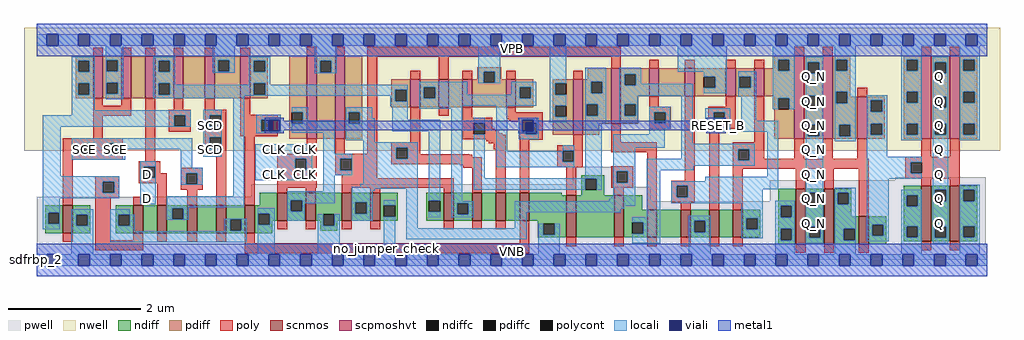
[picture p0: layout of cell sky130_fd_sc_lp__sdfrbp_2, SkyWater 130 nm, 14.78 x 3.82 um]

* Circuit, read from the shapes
.subckt sky130_fd_sc_lp__sdfrbp_2 CLK D RESET_B SCD SCE VGND VNB VPB VPWR Q Q_N
XM1 VGND SCE n1 VNB sky130_fd_pr__nfet_01v8 w=0.42 l=0.15
XM2 n2 n1 n3 VNB sky130_fd_pr__nfet_01v8 w=0.42 l=0.15
XM3 n4 D n2 VNB sky130_fd_pr__nfet_01v8 w=0.42 l=0.15
XM4 n5 SCE n4 VNB sky130_fd_pr__nfet_01v8 w=0.42 l=0.15
XM5 n3 SCD n5 VNB sky130_fd_pr__nfet_01v8 w=0.42 l=0.15
XM6 VGND RESET_B n3 VNB sky130_fd_pr__nfet_01v8 w=0.42 l=0.15
XM7 n6 CLK VGND VNB sky130_fd_pr__nfet_01v8 w=0.42 l=0.15 m=2
XM8 n7 n6 VGND VNB sky130_fd_pr__nfet_01v8 w=0.42 l=0.15 m=2
XM9 n8 n6 n4 VNB sky130_fd_pr__nfet_01v8 w=0.42 l=0.15
XM10 n9 n7 n8 VNB sky130_fd_pr__nfet_01v8 w=0.42 l=0.15
XM11 n10 n11 n9 VNB sky130_fd_pr__nfet_01v8 w=0.42 l=0.15
XM12 VGND RESET_B n10 VNB sky130_fd_pr__nfet_01v8 w=0.42 l=0.15
XM13 n11 n8 VGND VNB sky130_fd_pr__nfet_01v8 w=0.64 l=0.15
XM14 n12 n7 n11 VNB sky130_fd_pr__nfet_01v8 w=0.64 l=0.15
XM15 n13 n6 n12 VNB sky130_fd_pr__nfet_01v8 w=0.42 l=0.15
XM16 VGND n14 n13 VNB sky130_fd_pr__nfet_01v8 w=0.42 l=0.15
XM17 n15 RESET_B VGND VNB sky130_fd_pr__nfet_01v8 w=0.42 l=0.15
XM18 n14 n12 n15 VNB sky130_fd_pr__nfet_01v8 w=0.42 l=0.15
XM19 Q_N n12 VGND VNB sky130_fd_pr__nfet_01v8 w=0.84 l=0.15 m=2
XM20 n16 n12 VGND VNB sky130_fd_pr__nfet_01v8 w=0.42 l=0.15
XM21 Q n16 VGND VNB sky130_fd_pr__nfet_01v8 w=0.84 l=0.15 m=2
XM22 VPWR SCE n1 VPB sky130_fd_pr__pfet_01v8_hvt w=0.64 l=0.15
XM23 n17 SCE VPWR VPB sky130_fd_pr__pfet_01v8_hvt w=0.64 l=0.15
XM24 n4 D n17 VPB sky130_fd_pr__pfet_01v8_hvt w=0.64 l=0.15
XM25 n18 n1 n4 VPB sky130_fd_pr__pfet_01v8_hvt w=0.64 l=0.15
XM26 VPWR SCD n18 VPB sky130_fd_pr__pfet_01v8_hvt w=0.64 l=0.15
XM27 n4 RESET_B VPWR VPB sky130_fd_pr__pfet_01v8_hvt w=0.64 l=0.15
XM28 VPWR CLK n6 VPB sky130_fd_pr__pfet_01v8_hvt w=1.26 l=0.15
XM29 n7 n6 VPWR VPB sky130_fd_pr__pfet_01v8_hvt w=1.26 l=0.15
XM30 n8 n7 n4 VPB sky130_fd_pr__pfet_01v8_hvt w=0.42 l=0.15
XM31 n19 n6 n8 VPB sky130_fd_pr__pfet_01v8_hvt w=0.42 l=0.15
XM32 VPWR n11 n19 VPB sky130_fd_pr__pfet_01v8_hvt w=0.42 l=0.15
XM33 n8 RESET_B VPWR VPB sky130_fd_pr__pfet_01v8_hvt w=0.42 l=0.15
XM34 n11 n8 VPWR VPB sky130_fd_pr__pfet_01v8_hvt w=0.84 l=0.15
XM35 n12 n6 n11 VPB sky130_fd_pr__pfet_01v8_hvt w=0.84 l=0.15
XM36 n20 n7 n12 VPB sky130_fd_pr__pfet_01v8_hvt w=0.42 l=0.15
XM37 VPWR n14 n20 VPB sky130_fd_pr__pfet_01v8_hvt w=0.42 l=0.15
XM38 n14 RESET_B VPWR VPB sky130_fd_pr__pfet_01v8_hvt w=0.42 l=0.15
XM39 VPWR n12 n14 VPB sky130_fd_pr__pfet_01v8_hvt w=0.42 l=0.15
XM40 Q_N n12 VPWR VPB sky130_fd_pr__pfet_01v8_hvt w=1.26 l=0.15 m=2
XM41 n16 n12 VPWR VPB sky130_fd_pr__pfet_01v8_hvt w=0.64 l=0.15
XM42 Q n16 VPWR VPB sky130_fd_pr__pfet_01v8_hvt w=1.26 l=0.15 m=2
.ends

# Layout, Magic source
magic
tech sky130A
magscale 1 2
<< nwell >>
rect -38 331 2918 704
<< pwell >>
rect 1624 229 1745 282
rect 2601 242 2875 250
rect 650 222 1745 229
rect 650 191 1860 222
rect 1 178 1860 191
rect 2220 178 2875 242
rect 1 49 2875 178
rect 0 0 2880 49
<< scnmos >>
rect 80 81 110 165
rect 293 81 323 165
rect 365 81 395 165
rect 456 81 486 165
rect 545 81 575 165
rect 631 81 661 165
rect 729 119 759 203
rect 815 119 845 203
rect 925 119 955 203
rect 1011 119 1041 203
rect 1233 119 1263 203
rect 1319 119 1349 203
rect 1391 119 1421 203
rect 1463 119 1493 203
rect 1605 68 1635 196
rect 1749 68 1779 196
rect 1849 68 1879 152
rect 1951 68 1981 152
rect 2037 68 2067 152
rect 2109 68 2139 152
rect 2299 48 2329 216
rect 2385 48 2415 216
rect 2490 48 2520 132
rect 2680 56 2710 224
rect 2766 56 2796 224
<< scpmoshvt >>
rect 171 489 201 617
rect 257 489 287 617
rect 329 489 359 617
rect 415 489 445 617
rect 509 489 539 617
rect 617 489 647 617
rect 818 367 848 619
rect 904 367 934 619
rect 1132 463 1162 547
rect 1218 463 1248 547
rect 1290 463 1320 547
rect 1422 463 1452 547
rect 1625 379 1655 547
rect 1740 412 1770 580
rect 1855 496 1885 580
rect 1963 496 1993 580
rect 2088 496 2118 580
rect 2174 496 2204 580
rect 2295 367 2325 619
rect 2381 367 2411 619
rect 2486 367 2516 495
rect 2680 367 2710 619
rect 2766 367 2796 619
<< ndiff >>
rect 27 143 80 165
rect 27 109 35 143
rect 69 109 80 143
rect 27 81 80 109
rect 110 137 163 165
rect 110 103 121 137
rect 155 103 163 137
rect 110 81 163 103
rect 676 165 729 203
rect 240 137 293 165
rect 240 103 248 137
rect 282 103 293 137
rect 240 81 293 103
rect 323 81 365 165
rect 395 157 456 165
rect 395 123 411 157
rect 445 123 456 157
rect 395 81 456 123
rect 486 81 545 165
rect 575 123 631 165
rect 575 89 586 123
rect 620 89 631 123
rect 575 81 631 89
rect 661 140 729 165
rect 661 106 672 140
rect 706 119 729 140
rect 759 181 815 203
rect 759 147 770 181
rect 804 147 815 181
rect 759 119 815 147
rect 845 138 925 203
rect 845 119 868 138
rect 706 106 714 119
rect 661 81 714 106
rect 860 104 868 119
rect 902 119 925 138
rect 955 174 1011 203
rect 955 140 966 174
rect 1000 140 1011 174
rect 955 119 1011 140
rect 1041 165 1094 203
rect 1041 131 1052 165
rect 1086 131 1094 165
rect 1041 119 1094 131
rect 1180 180 1233 203
rect 1180 146 1188 180
rect 1222 146 1233 180
rect 1180 119 1233 146
rect 1263 172 1319 203
rect 1263 138 1274 172
rect 1308 138 1319 172
rect 1263 119 1319 138
rect 1349 119 1391 203
rect 1421 119 1463 203
rect 1493 196 1590 203
rect 1650 246 1719 256
rect 1650 212 1662 246
rect 1696 212 1719 246
rect 1650 196 1719 212
rect 1493 119 1605 196
rect 902 104 910 119
rect 860 88 910 104
rect 1518 110 1605 119
rect 1518 76 1535 110
rect 1569 76 1605 110
rect 1518 68 1605 76
rect 1635 68 1749 196
rect 1779 152 1834 196
rect 2246 164 2299 216
rect 1779 114 1849 152
rect 1779 80 1804 114
rect 1838 80 1849 114
rect 1779 68 1849 80
rect 1879 68 1951 152
rect 1981 118 2037 152
rect 1981 84 1992 118
rect 2026 84 2037 118
rect 1981 68 2037 84
rect 2067 68 2109 152
rect 2139 127 2192 152
rect 2139 93 2150 127
rect 2184 93 2192 127
rect 2139 68 2192 93
rect 2246 130 2254 164
rect 2288 130 2299 164
rect 2246 94 2299 130
rect 2246 60 2254 94
rect 2288 60 2299 94
rect 2246 48 2299 60
rect 2329 204 2385 216
rect 2329 170 2340 204
rect 2374 170 2385 204
rect 2329 101 2385 170
rect 2329 67 2340 101
rect 2374 67 2385 101
rect 2329 48 2385 67
rect 2415 203 2468 216
rect 2415 169 2426 203
rect 2460 169 2468 203
rect 2415 132 2468 169
rect 2627 196 2680 224
rect 2627 162 2635 196
rect 2669 162 2680 196
rect 2415 94 2490 132
rect 2415 60 2445 94
rect 2479 60 2490 94
rect 2415 48 2490 60
rect 2520 107 2573 132
rect 2520 73 2531 107
rect 2565 73 2573 107
rect 2520 48 2573 73
rect 2627 102 2680 162
rect 2627 68 2635 102
rect 2669 68 2680 102
rect 2627 56 2680 68
rect 2710 212 2766 224
rect 2710 178 2721 212
rect 2755 178 2766 212
rect 2710 101 2766 178
rect 2710 67 2721 101
rect 2755 67 2766 101
rect 2710 56 2766 67
rect 2796 212 2849 224
rect 2796 178 2807 212
rect 2841 178 2849 212
rect 2796 102 2849 178
rect 2796 68 2807 102
rect 2841 68 2849 102
rect 2796 56 2849 68
<< pdiff >>
rect 118 604 171 617
rect 118 570 126 604
rect 160 570 171 604
rect 118 535 171 570
rect 118 501 126 535
rect 160 501 171 535
rect 118 489 171 501
rect 201 605 257 617
rect 201 571 212 605
rect 246 571 257 605
rect 201 537 257 571
rect 201 503 212 537
rect 246 503 257 537
rect 201 489 257 503
rect 287 489 329 617
rect 359 604 415 617
rect 359 570 370 604
rect 404 570 415 604
rect 359 535 415 570
rect 359 501 370 535
rect 404 501 415 535
rect 359 489 415 501
rect 445 489 509 617
rect 539 605 617 617
rect 539 571 550 605
rect 584 571 617 605
rect 539 489 617 571
rect 647 604 700 617
rect 647 570 658 604
rect 692 570 700 604
rect 647 535 700 570
rect 647 501 658 535
rect 692 501 700 535
rect 647 489 700 501
rect 765 447 818 619
rect 765 413 773 447
rect 807 413 818 447
rect 765 367 818 413
rect 848 603 904 619
rect 848 569 859 603
rect 893 569 904 603
rect 848 367 904 569
rect 934 447 987 619
rect 934 413 945 447
rect 979 413 987 447
rect 934 367 987 413
rect 1335 570 1407 583
rect 2234 607 2295 619
rect 2234 580 2246 607
rect 1335 547 1354 570
rect 1074 515 1132 547
rect 1074 481 1087 515
rect 1121 481 1132 515
rect 1074 463 1132 481
rect 1162 523 1218 547
rect 1162 489 1173 523
rect 1207 489 1218 523
rect 1162 463 1218 489
rect 1248 463 1290 547
rect 1320 536 1354 547
rect 1388 547 1407 570
rect 1670 547 1740 580
rect 1388 536 1422 547
rect 1320 463 1422 536
rect 1452 523 1505 547
rect 1452 489 1463 523
rect 1497 489 1505 523
rect 1452 463 1505 489
rect 1563 535 1625 547
rect 1563 501 1571 535
rect 1605 501 1625 535
rect 1563 467 1625 501
rect 1563 433 1571 467
rect 1605 433 1625 467
rect 1563 379 1625 433
rect 1655 539 1740 547
rect 1655 505 1680 539
rect 1714 505 1740 539
rect 1655 471 1740 505
rect 1655 437 1666 471
rect 1700 437 1740 471
rect 1655 412 1740 437
rect 1770 563 1855 580
rect 1770 529 1781 563
rect 1815 529 1855 563
rect 1770 496 1855 529
rect 1885 496 1963 580
rect 1993 555 2088 580
rect 1993 521 2021 555
rect 2055 521 2088 555
rect 1993 496 2088 521
rect 2118 555 2174 580
rect 2118 521 2129 555
rect 2163 521 2174 555
rect 2118 496 2174 521
rect 2204 573 2246 580
rect 2280 573 2295 607
rect 2204 496 2295 573
rect 1770 471 1823 496
rect 1770 437 1781 471
rect 1815 437 1823 471
rect 1770 412 1823 437
rect 1655 379 1705 412
rect 2234 490 2295 496
rect 2234 456 2246 490
rect 2280 456 2295 490
rect 2234 367 2295 456
rect 2325 599 2381 619
rect 2325 565 2336 599
rect 2370 565 2381 599
rect 2325 498 2381 565
rect 2325 464 2336 498
rect 2370 464 2381 498
rect 2325 409 2381 464
rect 2325 375 2336 409
rect 2370 375 2381 409
rect 2325 367 2381 375
rect 2411 607 2464 619
rect 2411 573 2422 607
rect 2456 573 2464 607
rect 2411 509 2464 573
rect 2627 607 2680 619
rect 2627 573 2635 607
rect 2669 573 2680 607
rect 2411 475 2422 509
rect 2456 495 2464 509
rect 2627 510 2680 573
rect 2456 475 2486 495
rect 2411 409 2486 475
rect 2411 375 2431 409
rect 2465 375 2486 409
rect 2411 367 2486 375
rect 2516 483 2569 495
rect 2516 449 2527 483
rect 2561 449 2569 483
rect 2516 413 2569 449
rect 2516 379 2527 413
rect 2561 379 2569 413
rect 2516 367 2569 379
rect 2627 476 2635 510
rect 2669 476 2680 510
rect 2627 413 2680 476
rect 2627 379 2635 413
rect 2669 379 2680 413
rect 2627 367 2680 379
rect 2710 599 2766 619
rect 2710 565 2721 599
rect 2755 565 2766 599
rect 2710 495 2766 565
rect 2710 461 2721 495
rect 2755 461 2766 495
rect 2710 413 2766 461
rect 2710 379 2721 413
rect 2755 379 2766 413
rect 2710 367 2766 379
rect 2796 607 2849 619
rect 2796 573 2807 607
rect 2841 573 2849 607
rect 2796 510 2849 573
rect 2796 476 2807 510
rect 2841 476 2849 510
rect 2796 413 2849 476
rect 2796 379 2807 413
rect 2841 379 2849 413
rect 2796 367 2849 379
<< ndiffc >>
rect 35 109 69 143
rect 121 103 155 137
rect 248 103 282 137
rect 411 123 445 157
rect 586 89 620 123
rect 672 106 706 140
rect 770 147 804 181
rect 868 104 902 138
rect 966 140 1000 174
rect 1052 131 1086 165
rect 1188 146 1222 180
rect 1274 138 1308 172
rect 1662 212 1696 246
rect 1535 76 1569 110
rect 1804 80 1838 114
rect 1992 84 2026 118
rect 2150 93 2184 127
rect 2254 130 2288 164
rect 2254 60 2288 94
rect 2340 170 2374 204
rect 2340 67 2374 101
rect 2426 169 2460 203
rect 2635 162 2669 196
rect 2445 60 2479 94
rect 2531 73 2565 107
rect 2635 68 2669 102
rect 2721 178 2755 212
rect 2721 67 2755 101
rect 2807 178 2841 212
rect 2807 68 2841 102
<< pdiffc >>
rect 126 570 160 604
rect 126 501 160 535
rect 212 571 246 605
rect 212 503 246 537
rect 370 570 404 604
rect 370 501 404 535
rect 550 571 584 605
rect 658 570 692 604
rect 658 501 692 535
rect 773 413 807 447
rect 859 569 893 603
rect 945 413 979 447
rect 1087 481 1121 515
rect 1173 489 1207 523
rect 1354 536 1388 570
rect 1463 489 1497 523
rect 1571 501 1605 535
rect 1571 433 1605 467
rect 1680 505 1714 539
rect 1666 437 1700 471
rect 1781 529 1815 563
rect 2021 521 2055 555
rect 2129 521 2163 555
rect 2246 573 2280 607
rect 1781 437 1815 471
rect 2246 456 2280 490
rect 2336 565 2370 599
rect 2336 464 2370 498
rect 2336 375 2370 409
rect 2422 573 2456 607
rect 2635 573 2669 607
rect 2422 475 2456 509
rect 2431 375 2465 409
rect 2527 449 2561 483
rect 2527 379 2561 413
rect 2635 476 2669 510
rect 2635 379 2669 413
rect 2721 565 2755 599
rect 2721 461 2755 495
rect 2721 379 2755 413
rect 2807 573 2841 607
rect 2807 476 2841 510
rect 2807 379 2841 413
<< poly >>
rect 171 617 201 643
rect 257 617 287 643
rect 329 617 359 643
rect 415 617 445 643
rect 509 617 539 643
rect 617 617 647 643
rect 818 619 848 645
rect 904 619 934 645
rect 171 467 201 489
rect 257 467 287 489
rect 171 437 287 467
rect 171 369 201 437
rect 80 353 261 369
rect 80 319 143 353
rect 177 319 211 353
rect 245 319 261 353
rect 80 303 261 319
rect 80 165 110 303
rect 329 299 359 489
rect 415 455 445 489
rect 509 455 539 489
rect 401 439 467 455
rect 401 405 417 439
rect 451 405 467 439
rect 401 389 467 405
rect 509 439 575 455
rect 509 405 525 439
rect 559 405 575 439
rect 509 371 575 405
rect 617 440 647 489
rect 617 424 731 440
rect 617 390 681 424
rect 715 390 731 424
rect 617 374 731 390
rect 509 337 525 371
rect 559 337 575 371
rect 509 321 575 337
rect 309 283 375 299
rect 178 237 251 253
rect 178 203 201 237
rect 235 203 251 237
rect 309 249 325 283
rect 359 263 375 283
rect 437 263 503 279
rect 359 249 395 263
rect 309 233 395 249
rect 178 187 251 203
rect 80 55 110 81
rect 178 59 225 187
rect 293 165 323 191
rect 365 165 395 233
rect 437 229 453 263
rect 487 229 503 263
rect 437 213 503 229
rect 456 165 486 213
rect 545 165 575 321
rect 631 165 661 374
rect 1002 615 1770 645
rect 2295 619 2325 645
rect 2381 619 2411 645
rect 2680 619 2710 645
rect 2766 619 2796 645
rect 818 322 848 367
rect 729 306 848 322
rect 729 272 783 306
rect 817 272 848 306
rect 729 218 848 272
rect 904 322 934 367
rect 1002 322 1032 615
rect 1132 547 1162 573
rect 1218 547 1248 615
rect 1290 547 1320 573
rect 1740 580 1770 615
rect 1855 580 1885 606
rect 1963 580 1993 606
rect 2088 580 2118 606
rect 2174 580 2204 606
rect 1422 547 1452 573
rect 1625 547 1655 573
rect 1132 356 1162 463
rect 1218 437 1248 463
rect 1290 431 1320 463
rect 1422 448 1452 463
rect 1290 415 1380 431
rect 1422 429 1533 448
rect 1426 426 1533 429
rect 1431 422 1533 426
rect 1437 418 1533 422
rect 1290 381 1324 415
rect 1358 398 1380 415
rect 1463 415 1533 418
rect 1358 392 1388 398
rect 1358 383 1400 392
rect 1358 381 1411 383
rect 1290 379 1411 381
rect 1463 381 1481 415
rect 1515 381 1533 415
rect 1290 365 1421 379
rect 1362 360 1421 365
rect 904 306 1032 322
rect 904 272 920 306
rect 954 272 1032 306
rect 1074 340 1162 356
rect 1370 353 1421 360
rect 1074 306 1090 340
rect 1124 320 1162 340
rect 1384 336 1421 353
rect 1124 318 1311 320
rect 1124 311 1319 318
rect 1124 306 1349 311
rect 1074 290 1349 306
rect 1284 287 1349 290
rect 1293 279 1349 287
rect 904 256 1032 272
rect 925 248 1032 256
rect 925 218 1263 248
rect 729 203 759 218
rect 815 203 845 218
rect 925 203 955 218
rect 1011 203 1041 218
rect 1233 203 1263 218
rect 1319 203 1349 279
rect 1391 203 1421 336
rect 1463 364 1533 381
rect 1855 464 1885 496
rect 1855 448 1921 464
rect 1855 414 1871 448
rect 1905 414 1921 448
rect 1463 203 1493 364
rect 1625 347 1655 379
rect 1577 331 1655 347
rect 1577 297 1593 331
rect 1627 297 1655 331
rect 1740 356 1770 412
rect 1855 398 1921 414
rect 1740 326 1879 356
rect 1577 281 1655 297
rect 729 93 759 119
rect 815 93 845 119
rect 1605 196 1635 281
rect 1741 268 1807 284
rect 1741 234 1757 268
rect 1791 234 1807 268
rect 1741 218 1807 234
rect 1749 196 1779 218
rect 925 93 955 119
rect 1011 93 1041 119
rect 1233 93 1263 119
rect 1319 93 1349 119
rect 1391 93 1421 119
rect 293 59 323 81
rect 178 29 323 59
rect 365 55 395 81
rect 456 55 486 81
rect 545 55 575 81
rect 631 51 661 81
rect 1463 51 1493 119
rect 1849 152 1879 326
rect 1963 240 1993 496
rect 2088 464 2118 496
rect 2035 448 2118 464
rect 2035 414 2051 448
rect 2085 414 2118 448
rect 2035 398 2118 414
rect 1923 224 1993 240
rect 1923 190 1939 224
rect 1973 190 1993 224
rect 1923 174 1993 190
rect 1951 152 1981 174
rect 2037 152 2067 398
rect 2174 356 2204 496
rect 2486 495 2516 521
rect 2109 336 2204 356
rect 2109 302 2125 336
rect 2159 306 2204 336
rect 2295 306 2325 367
rect 2381 306 2411 367
rect 2486 306 2516 367
rect 2680 312 2710 367
rect 2766 312 2796 367
rect 2159 302 2520 306
rect 2109 276 2520 302
rect 2109 152 2139 276
rect 2299 216 2329 276
rect 2385 216 2415 276
rect 631 21 1493 51
rect 1605 42 1635 68
rect 1749 42 1779 68
rect 1849 42 1879 68
rect 1951 42 1981 68
rect 2037 42 2067 68
rect 2109 42 2139 68
rect 2490 132 2520 276
rect 2631 296 2796 312
rect 2631 262 2647 296
rect 2681 262 2796 296
rect 2631 246 2796 262
rect 2680 224 2710 246
rect 2766 224 2796 246
rect 2299 22 2329 48
rect 2385 22 2415 48
rect 2490 22 2520 48
rect 2680 30 2710 56
rect 2766 30 2796 56
<< polycont >>
rect 143 319 177 353
rect 211 319 245 353
rect 417 405 451 439
rect 525 405 559 439
rect 681 390 715 424
rect 525 337 559 371
rect 201 203 235 237
rect 325 249 359 283
rect 453 229 487 263
rect 783 272 817 306
rect 1324 381 1358 415
rect 1481 381 1515 415
rect 920 272 954 306
rect 1090 306 1124 340
rect 1871 414 1905 448
rect 1593 297 1627 331
rect 1757 234 1791 268
rect 2051 414 2085 448
rect 1939 190 1973 224
rect 2125 302 2159 336
rect 2647 262 2681 296
<< locali >>
rect 0 649 31 683
rect 65 649 127 683
rect 161 649 223 683
rect 257 649 319 683
rect 353 649 415 683
rect 449 649 511 683
rect 545 649 607 683
rect 641 649 703 683
rect 737 649 799 683
rect 833 649 895 683
rect 929 649 991 683
rect 1025 649 1087 683
rect 1121 649 1183 683
rect 1217 649 1279 683
rect 1313 649 1375 683
rect 1409 649 1471 683
rect 1505 649 1567 683
rect 1601 649 1663 683
rect 1697 649 1759 683
rect 1793 649 1855 683
rect 1889 649 1951 683
rect 1985 649 2047 683
rect 2081 649 2143 683
rect 2177 649 2239 683
rect 2273 649 2335 683
rect 2369 649 2431 683
rect 2465 649 2527 683
rect 2561 649 2623 683
rect 2657 649 2719 683
rect 2753 649 2815 683
rect 2849 649 2880 683
rect 106 604 176 615
rect 106 570 126 604
rect 160 570 176 604
rect 106 535 176 570
rect 106 501 126 535
rect 160 501 176 535
rect 106 453 176 501
rect 210 605 262 649
rect 210 571 212 605
rect 246 571 262 605
rect 210 537 262 571
rect 210 503 212 537
rect 246 503 262 537
rect 210 487 262 503
rect 354 604 420 615
rect 354 570 370 604
rect 404 570 420 604
rect 354 535 420 570
rect 534 605 600 649
rect 534 571 550 605
rect 584 571 600 605
rect 534 567 600 571
rect 642 604 708 615
rect 642 570 658 604
rect 692 570 708 604
rect 354 501 370 535
rect 404 531 420 535
rect 642 535 708 570
rect 843 603 909 649
rect 843 569 859 603
rect 893 569 909 603
rect 843 565 909 569
rect 1338 570 1404 649
rect 642 531 658 535
rect 404 501 658 531
rect 692 531 708 535
rect 692 515 1125 531
rect 692 501 1087 515
rect 354 497 1087 501
rect 354 489 629 497
rect 106 439 467 453
rect 19 405 417 439
rect 451 405 467 439
rect 19 403 467 405
rect 505 439 561 455
rect 505 405 525 439
rect 559 405 561 439
rect 19 253 73 403
rect 505 371 561 405
rect 107 353 471 369
rect 107 319 143 353
rect 177 319 211 353
rect 245 335 471 353
rect 245 319 269 335
rect 107 303 269 319
rect 314 283 361 299
rect 19 237 251 253
rect 19 203 201 237
rect 235 203 251 237
rect 19 187 251 203
rect 314 249 325 283
rect 359 249 361 283
rect 19 143 71 187
rect 314 168 361 249
rect 437 279 471 335
rect 505 337 525 371
rect 559 337 561 371
rect 505 313 561 337
rect 437 263 503 279
rect 437 229 453 263
rect 487 229 503 263
rect 437 227 503 229
rect 595 193 629 489
rect 1071 481 1087 497
rect 1121 481 1125 515
rect 1071 465 1125 481
rect 773 447 823 463
rect 665 424 739 440
rect 665 390 681 424
rect 737 390 739 424
rect 665 384 739 390
rect 807 420 823 447
rect 937 447 1017 463
rect 807 413 903 420
rect 773 386 903 413
rect 663 306 835 350
rect 663 272 783 306
rect 817 272 835 306
rect 663 242 835 272
rect 869 322 903 386
rect 937 413 945 447
rect 979 429 1017 447
rect 979 413 1024 429
rect 937 363 1024 413
rect 1078 424 1125 465
rect 1159 523 1304 539
rect 1338 536 1354 570
rect 1388 536 1404 570
rect 1338 535 1404 536
rect 1159 489 1173 523
rect 1207 501 1304 523
rect 1438 523 1513 539
rect 1438 501 1463 523
rect 1207 489 1463 501
rect 1497 489 1513 523
rect 1159 467 1513 489
rect 1555 535 1605 649
rect 1555 501 1571 535
rect 1555 467 1605 501
rect 1159 458 1290 467
rect 1078 390 1222 424
rect 990 356 1024 363
rect 990 340 1154 356
rect 869 306 956 322
rect 869 272 920 306
rect 954 272 956 306
rect 869 256 956 272
rect 990 306 1090 340
rect 1124 306 1154 340
rect 869 208 903 256
rect 990 231 1154 306
rect 981 222 1154 231
rect 395 159 629 193
rect 760 181 903 208
rect 395 157 461 159
rect 19 109 35 143
rect 69 109 71 143
rect 19 93 71 109
rect 105 137 171 153
rect 105 103 121 137
rect 155 103 171 137
rect 105 17 171 103
rect 223 137 283 153
rect 223 103 248 137
rect 282 103 298 137
rect 395 123 411 157
rect 445 123 461 157
rect 670 140 722 156
rect 395 121 461 123
rect 570 123 636 125
rect 223 87 298 103
rect 570 89 586 123
rect 620 89 636 123
rect 570 87 636 89
rect 223 53 636 87
rect 670 106 672 140
rect 706 106 722 140
rect 760 147 770 181
rect 804 172 903 181
rect 954 215 1154 222
rect 954 210 1024 215
rect 954 174 1018 210
rect 804 147 812 172
rect 760 119 812 147
rect 954 140 966 174
rect 1000 140 1018 174
rect 670 17 722 106
rect 852 104 868 138
rect 902 104 918 138
rect 954 119 1018 140
rect 1052 165 1086 181
rect 852 17 918 104
rect 1052 17 1086 131
rect 1120 96 1154 215
rect 1188 180 1222 390
rect 1188 130 1222 146
rect 1256 178 1290 458
rect 1324 415 1358 431
rect 1324 247 1358 381
rect 1392 329 1426 467
rect 1555 433 1571 467
rect 1460 424 1521 431
rect 1460 390 1471 424
rect 1505 415 1521 424
rect 1555 417 1605 433
rect 1662 539 1726 582
rect 1662 505 1680 539
rect 1714 505 1726 539
rect 1662 471 1726 505
rect 1662 437 1666 471
rect 1700 437 1726 471
rect 1460 381 1481 390
rect 1515 381 1521 415
rect 1460 365 1521 381
rect 1662 416 1726 437
rect 1765 563 1831 582
rect 1942 570 2091 649
rect 2230 607 2296 649
rect 2230 573 2246 607
rect 2280 573 2296 607
rect 1765 529 1781 563
rect 1815 534 1831 563
rect 2021 555 2091 570
rect 1815 529 1987 534
rect 1765 498 1987 529
rect 2055 521 2091 555
rect 2021 505 2091 521
rect 2125 555 2179 571
rect 2125 521 2129 555
rect 2163 521 2179 555
rect 1765 471 1821 498
rect 1765 437 1781 471
rect 1815 437 1821 471
rect 1765 416 1821 437
rect 1855 448 1919 464
rect 1593 331 1628 347
rect 1392 297 1593 329
rect 1627 297 1628 331
rect 1392 281 1628 297
rect 1662 247 1712 416
rect 1855 414 1871 448
rect 1905 414 1919 448
rect 1855 398 1919 414
rect 1855 380 1903 398
rect 1324 246 1712 247
rect 1324 212 1662 246
rect 1696 212 1712 246
rect 1746 340 1903 380
rect 1953 352 1987 498
rect 2125 494 2179 521
rect 2025 448 2101 460
rect 2025 424 2051 448
rect 2025 390 2041 424
rect 2085 414 2101 448
rect 2075 390 2101 414
rect 2025 388 2101 390
rect 2135 422 2179 494
rect 2230 490 2296 573
rect 2230 456 2246 490
rect 2280 456 2296 490
rect 2330 599 2383 615
rect 2330 565 2336 599
rect 2370 565 2383 599
rect 2330 498 2383 565
rect 2330 464 2336 498
rect 2370 464 2383 498
rect 2135 388 2247 422
rect 1746 268 1814 340
rect 1953 336 2175 352
rect 1953 306 2125 336
rect 1746 234 1757 268
rect 1791 234 1814 268
rect 1746 193 1814 234
rect 1741 186 1814 193
rect 1734 178 1814 186
rect 1256 172 1324 178
rect 1256 138 1274 172
rect 1308 138 1324 172
rect 1256 130 1324 138
rect 1449 164 1814 178
rect 1848 302 2125 306
rect 2159 302 2175 336
rect 1848 286 2175 302
rect 1848 272 1991 286
rect 1449 155 1780 164
rect 1449 144 1770 155
rect 1449 96 1485 144
rect 1848 130 1889 272
rect 2213 252 2247 388
rect 2025 238 2247 252
rect 1923 224 2247 238
rect 1923 190 1939 224
rect 1973 214 2247 224
rect 2330 409 2383 464
rect 2330 375 2336 409
rect 2370 375 2383 409
rect 1973 190 2200 214
rect 1923 172 2200 190
rect 2330 204 2383 375
rect 2417 607 2481 649
rect 2417 573 2422 607
rect 2456 573 2481 607
rect 2417 509 2481 573
rect 2417 475 2422 509
rect 2456 475 2481 509
rect 2619 607 2681 649
rect 2619 573 2635 607
rect 2669 573 2681 607
rect 2619 510 2681 573
rect 2417 409 2481 475
rect 2417 375 2431 409
rect 2465 375 2481 409
rect 2417 359 2481 375
rect 2515 483 2577 499
rect 2515 449 2527 483
rect 2561 449 2577 483
rect 2515 413 2577 449
rect 2515 379 2527 413
rect 2561 379 2577 413
rect 2515 312 2577 379
rect 2619 476 2635 510
rect 2669 476 2681 510
rect 2619 413 2681 476
rect 2619 379 2635 413
rect 2669 379 2681 413
rect 2619 363 2681 379
rect 2715 599 2762 615
rect 2715 565 2721 599
rect 2755 565 2762 599
rect 2715 495 2762 565
rect 2715 461 2721 495
rect 2755 461 2762 495
rect 2715 413 2762 461
rect 2715 379 2721 413
rect 2755 379 2762 413
rect 2515 296 2681 312
rect 2515 262 2647 296
rect 2515 246 2681 262
rect 1804 114 1889 130
rect 1120 62 1485 96
rect 1519 76 1535 110
rect 1569 76 1585 110
rect 1519 17 1585 76
rect 1838 80 1889 114
rect 1804 51 1889 80
rect 1976 118 2042 134
rect 1976 84 1992 118
rect 2026 84 2042 118
rect 1976 17 2042 84
rect 2134 127 2200 172
rect 2134 93 2150 127
rect 2184 93 2200 127
rect 2134 66 2200 93
rect 2238 164 2296 180
rect 2238 130 2254 164
rect 2288 130 2296 164
rect 2238 94 2296 130
rect 2238 60 2254 94
rect 2288 60 2296 94
rect 2238 17 2296 60
rect 2330 170 2340 204
rect 2374 170 2383 204
rect 2330 101 2383 170
rect 2330 67 2340 101
rect 2374 67 2383 101
rect 2330 51 2383 67
rect 2417 203 2481 219
rect 2417 169 2426 203
rect 2460 169 2481 203
rect 2417 94 2481 169
rect 2417 60 2445 94
rect 2479 60 2481 94
rect 2417 17 2481 60
rect 2515 107 2581 246
rect 2715 212 2762 379
rect 2796 607 2857 649
rect 2796 573 2807 607
rect 2841 573 2857 607
rect 2796 510 2857 573
rect 2796 476 2807 510
rect 2841 476 2857 510
rect 2796 413 2857 476
rect 2796 379 2807 413
rect 2841 379 2857 413
rect 2796 363 2857 379
rect 2515 73 2531 107
rect 2565 73 2581 107
rect 2515 57 2581 73
rect 2619 196 2681 212
rect 2619 162 2635 196
rect 2669 162 2681 196
rect 2619 102 2681 162
rect 2619 68 2635 102
rect 2669 68 2681 102
rect 2619 17 2681 68
rect 2715 178 2721 212
rect 2755 178 2762 212
rect 2715 101 2762 178
rect 2715 67 2721 101
rect 2755 67 2762 101
rect 2715 51 2762 67
rect 2796 212 2857 228
rect 2796 178 2807 212
rect 2841 178 2857 212
rect 2796 102 2857 178
rect 2796 68 2807 102
rect 2841 68 2857 102
rect 2796 17 2857 68
rect 0 -17 31 17
rect 65 -17 127 17
rect 161 -17 223 17
rect 257 -17 319 17
rect 353 -17 415 17
rect 449 -17 511 17
rect 545 -17 607 17
rect 641 -17 703 17
rect 737 -17 799 17
rect 833 -17 895 17
rect 929 -17 991 17
rect 1025 -17 1087 17
rect 1121 -17 1183 17
rect 1217 -17 1279 17
rect 1313 -17 1375 17
rect 1409 -17 1471 17
rect 1505 -17 1567 17
rect 1601 -17 1663 17
rect 1697 -17 1759 17
rect 1793 -17 1855 17
rect 1889 -17 1951 17
rect 1985 -17 2047 17
rect 2081 -17 2143 17
rect 2177 -17 2239 17
rect 2273 -17 2335 17
rect 2369 -17 2431 17
rect 2465 -17 2527 17
rect 2561 -17 2623 17
rect 2657 -17 2719 17
rect 2753 -17 2815 17
rect 2849 -17 2880 17
<< viali >>
rect 31 649 65 683
rect 127 649 161 683
rect 223 649 257 683
rect 319 649 353 683
rect 415 649 449 683
rect 511 649 545 683
rect 607 649 641 683
rect 703 649 737 683
rect 799 649 833 683
rect 895 649 929 683
rect 991 649 1025 683
rect 1087 649 1121 683
rect 1183 649 1217 683
rect 1279 649 1313 683
rect 1375 649 1409 683
rect 1471 649 1505 683
rect 1567 649 1601 683
rect 1663 649 1697 683
rect 1759 649 1793 683
rect 1855 649 1889 683
rect 1951 649 1985 683
rect 2047 649 2081 683
rect 2143 649 2177 683
rect 2239 649 2273 683
rect 2335 649 2369 683
rect 2431 649 2465 683
rect 2527 649 2561 683
rect 2623 649 2657 683
rect 2719 649 2753 683
rect 2815 649 2849 683
rect 703 390 715 424
rect 715 390 737 424
rect 1471 415 1505 424
rect 1471 390 1481 415
rect 1481 390 1505 415
rect 2041 414 2051 424
rect 2051 414 2075 424
rect 2041 390 2075 414
rect 31 -17 65 17
rect 127 -17 161 17
rect 223 -17 257 17
rect 319 -17 353 17
rect 415 -17 449 17
rect 511 -17 545 17
rect 607 -17 641 17
rect 703 -17 737 17
rect 799 -17 833 17
rect 895 -17 929 17
rect 991 -17 1025 17
rect 1087 -17 1121 17
rect 1183 -17 1217 17
rect 1279 -17 1313 17
rect 1375 -17 1409 17
rect 1471 -17 1505 17
rect 1567 -17 1601 17
rect 1663 -17 1697 17
rect 1759 -17 1793 17
rect 1855 -17 1889 17
rect 1951 -17 1985 17
rect 2047 -17 2081 17
rect 2143 -17 2177 17
rect 2239 -17 2273 17
rect 2335 -17 2369 17
rect 2431 -17 2465 17
rect 2527 -17 2561 17
rect 2623 -17 2657 17
rect 2719 -17 2753 17
rect 2815 -17 2849 17
<< metal1 >>
rect 0 683 2880 715
rect 0 649 31 683
rect 65 649 127 683
rect 161 649 223 683
rect 257 649 319 683
rect 353 649 415 683
rect 449 649 511 683
rect 545 649 607 683
rect 641 649 703 683
rect 737 649 799 683
rect 833 649 895 683
rect 929 649 991 683
rect 1025 649 1087 683
rect 1121 649 1183 683
rect 1217 649 1279 683
rect 1313 649 1375 683
rect 1409 649 1471 683
rect 1505 649 1567 683
rect 1601 649 1663 683
rect 1697 649 1759 683
rect 1793 649 1855 683
rect 1889 649 1951 683
rect 1985 649 2047 683
rect 2081 649 2143 683
rect 2177 649 2239 683
rect 2273 649 2335 683
rect 2369 649 2431 683
rect 2465 649 2527 683
rect 2561 649 2623 683
rect 2657 649 2719 683
rect 2753 649 2815 683
rect 2849 649 2880 683
rect 0 617 2880 649
rect 691 424 749 430
rect 691 390 703 424
rect 737 421 749 424
rect 1459 424 1517 430
rect 1459 421 1471 424
rect 737 393 1471 421
rect 737 390 749 393
rect 691 384 749 390
rect 1459 390 1471 393
rect 1505 421 1517 424
rect 2029 424 2087 430
rect 2029 421 2041 424
rect 1505 393 2041 421
rect 1505 390 1517 393
rect 1459 384 1517 390
rect 2029 390 2041 393
rect 2075 390 2087 424
rect 2029 384 2087 390
rect 0 17 2880 49
rect 0 -17 31 17
rect 65 -17 127 17
rect 161 -17 223 17
rect 257 -17 319 17
rect 353 -17 415 17
rect 449 -17 511 17
rect 545 -17 607 17
rect 641 -17 703 17
rect 737 -17 799 17
rect 833 -17 895 17
rect 929 -17 991 17
rect 1025 -17 1087 17
rect 1121 -17 1183 17
rect 1217 -17 1279 17
rect 1313 -17 1375 17
rect 1409 -17 1471 17
rect 1505 -17 1567 17
rect 1601 -17 1663 17
rect 1697 -17 1759 17
rect 1793 -17 1855 17
rect 1889 -17 1951 17
rect 1985 -17 2047 17
rect 2081 -17 2143 17
rect 2177 -17 2239 17
rect 2273 -17 2335 17
rect 2369 -17 2431 17
rect 2465 -17 2527 17
rect 2561 -17 2623 17
rect 2657 -17 2719 17
rect 2753 -17 2815 17
rect 2849 -17 2880 17
rect 0 -49 2880 -17
<< labels >>
flabel pwell s 0 0 2880 49 0 FreeSans 200 0 0 0 VNB
port 7 nsew ground bidirectional
flabel nwell s 0 617 2880 666 0 FreeSans 200 0 0 0 VPB
port 8 nsew power bidirectional
flabel comment s 1368 630 1368 630 0 FreeSans 300 0 0 0 no_jumper_check
rlabel comment s 0 0 0 0 4 sdfrbp_2
flabel comment s 1061 36 1061 36 0 FreeSans 300 0 0 0 no_jumper_check
flabel metal1 s 2047 390 2081 424 0 FreeSans 340 0 0 0 RESET_B
port 3 nsew signal input
flabel metal1 s 0 617 2880 666 0 FreeSans 340 0 0 0 VPWR
port 9 nsew power bidirectional
flabel metal1 s 0 0 2880 49 0 FreeSans 340 0 0 0 VGND
port 6 nsew ground bidirectional
flabel locali s 2719 94 2753 128 0 FreeSans 340 0 0 0 Q
port 10 nsew signal output
flabel locali s 2719 168 2753 202 0 FreeSans 340 0 0 0 Q
port 10 nsew signal output
flabel locali s 2719 242 2753 276 0 FreeSans 340 0 0 0 Q
port 10 nsew signal output
flabel locali s 2719 316 2753 350 0 FreeSans 340 0 0 0 Q
port 10 nsew signal output
flabel locali s 2719 390 2753 424 0 FreeSans 340 0 0 0 Q
port 10 nsew signal output
flabel locali s 2719 464 2753 498 0 FreeSans 340 0 0 0 Q
port 10 nsew signal output
flabel locali s 2719 538 2753 572 0 FreeSans 340 0 0 0 Q
port 10 nsew signal output
flabel locali s 127 316 161 350 0 FreeSans 340 0 0 0 SCE
port 5 nsew signal input
flabel locali s 223 316 257 350 0 FreeSans 340 0 0 0 SCE
port 5 nsew signal input
flabel locali s 2335 94 2369 128 0 FreeSans 340 0 0 0 Q_N
port 11 nsew signal output
flabel locali s 2335 168 2369 202 0 FreeSans 340 0 0 0 Q_N
port 11 nsew signal output
flabel locali s 2335 242 2369 276 0 FreeSans 340 0 0 0 Q_N
port 11 nsew signal output
flabel locali s 2335 316 2369 350 0 FreeSans 340 0 0 0 Q_N
port 11 nsew signal output
flabel locali s 2335 390 2369 424 0 FreeSans 340 0 0 0 Q_N
port 11 nsew signal output
flabel locali s 2335 464 2369 498 0 FreeSans 340 0 0 0 Q_N
port 11 nsew signal output
flabel locali s 2335 538 2369 572 0 FreeSans 340 0 0 0 Q_N
port 11 nsew signal output
flabel locali s 703 242 737 276 0 FreeSans 340 0 0 0 CLK
port 1 nsew clock input
flabel locali s 703 316 737 350 0 FreeSans 340 0 0 0 CLK
port 1 nsew clock input
flabel locali s 799 242 833 276 0 FreeSans 340 0 0 0 CLK
port 1 nsew clock input
flabel locali s 799 316 833 350 0 FreeSans 340 0 0 0 CLK
port 1 nsew clock input
flabel locali s 511 316 545 350 0 FreeSans 340 0 0 0 SCD
port 4 nsew signal input
flabel locali s 511 390 545 424 0 FreeSans 340 0 0 0 SCD
port 4 nsew signal input
flabel locali s 319 168 353 202 0 FreeSans 340 0 0 0 D
port 2 nsew signal input
flabel locali s 319 242 353 276 0 FreeSans 340 0 0 0 D
port 2 nsew signal input
<< properties >>
string LEFsite unit
string LEFclass CORE
string FIXED_BBOX 0 0 2880 666
string GDS_FILE $PDKPATH/libs.ref/sky130_fd_sc_lp/gds/sky130_fd_sc_lp.gds
string LEFsymmetry R90
string GDS_END 6195420
string GDS_START 6171652
<< end >>
